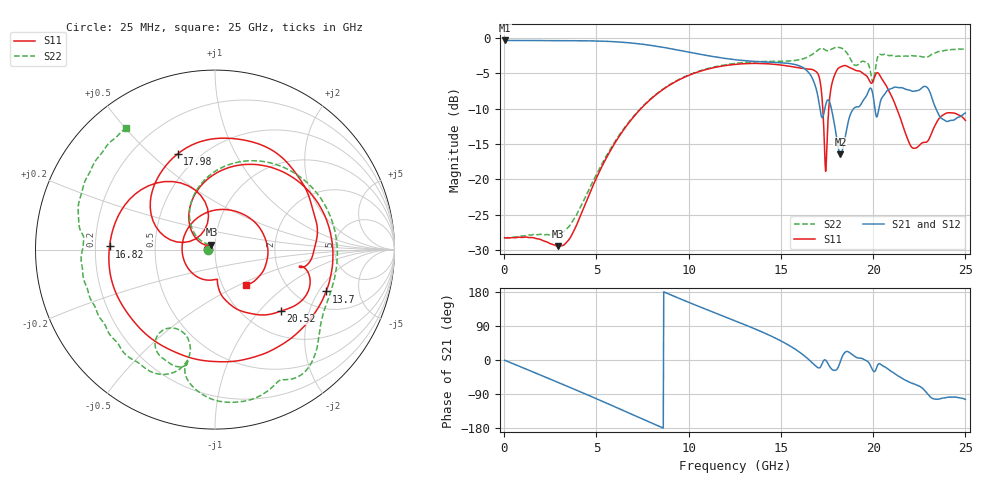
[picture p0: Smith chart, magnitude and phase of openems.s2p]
! BV_vna_clk_w5: /FPGA/FPGA_CLK_R via F.Cu→In3.Cu at (180.401, 101.754)
! stackup: VNA from the board file and its kisi.json
! ports: 1 in, 2 out
! openEMS 0.37.0, staircase, fine mesh (dfine 0.035 mm), 2553966 cells
# Hz S RI R 50
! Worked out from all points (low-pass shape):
!   1000 points, 25 MHz to 25 GHz, reference 50 ohm
!   highest |S21| = -0.34 dB at 25 MHz (marker M1); lowest = -16.4 dB at 18.23 GHz (marker M2)
!   |S21| within 3 dB of the highest: start of sweep to 13.75 GHz
!   lowest |S11| = -29.5 dB at 2.9 GHz (marker M3), VSWR 1.07, Z = 48 + j2.63 ohm
!   |S11| at or under -10 dB: start of sweep to 7.412 GHz; 17.27 GHz to 17.59 GHz (323 MHz wide, 1.85 % of centre); 21.28 GHz to end of sweep
!   |S22| runs from -28.3 to -1.3 dB; largest |S21 - S12| = 0.0067
!   S11 on the Smith chart (normalised r, x): 25 MHz: 0.93, +0.00; 13.7 GHz: 2.82, -2.34; 16.82 GHz: 0.26, +0.01; 17.98 GHz: 0.39, +0.61; 20.52 GHz: 1.44, -1.32; 25 GHz: 1.29, -0.54
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2.5e7  -0.0386 0.000654  0.9616 -0.00859  0.961 -0.00832  -0.0383 0.000505
2.9e9  -0.0196 0.0273  0.4989 -0.8195  0.4988 -0.8193  -0.0246 0.0325
4.2e9  -0.052 0.0253  0.0763 -0.954  0.0763 -0.954  -0.0549 0.0365
6e9  -0.1362 0.1184  -0.519 -0.7858  -0.5191 -0.7857  -0.1321 0.1289
8.35e9  -0.0212 0.4079  -0.8663 -0.0932  -0.8668 -0.0935  -0.0351 0.4096
1.0375e10  0.3549 0.4433  -0.6361 0.4489  -0.636 0.4496  0.305 0.4841
1.2525e10  0.6464 0.0767  -0.161 0.6835  -0.1602 0.6832  0.6172 0.2396
1.37e10  0.6189 -0.2334  0.1198 0.6707  0.1199 0.6696  0.6797 0.0286
1.5675e10  0.00369 -0.6241  0.5558 0.3433  0.5531 0.3441  0.618 -0.311
1.6675e10  -0.5778 -0.1642  0.5247 -0.0586  0.5275 -0.0532  0.5766 -0.4987
1.6825e10  -0.5878 0.0173  0.4624 -0.1077  0.4652 -0.1046  0.5689 -0.5454
1.715e10  -0.2826 0.3788  0.2836 -0.0925  0.287 -0.0927  0.5052 -0.676
1.7425e10  -0.0786 0.0826  0.3364 -0.00366  0.3399 -0.00261  0.3823 -0.7248
1.7975e10  -0.2081 0.5334  0.192 -0.0971  0.1934 -0.0975  0.2152 -0.8307
1.8225e10  0.0693 0.6206  0.1503 -0.00875  0.1525 -0.0104  0.078 -0.8507
1.9125e10  0.551 0.2011  0.3239 0.0349  0.3263 0.0342  -0.1461 -0.6258
2.0525e10  0.3652 -0.3435  0.3717 -0.1026  0.3696 -0.1044  -0.4425 -0.6212
2.085e10  0.2217 -0.3602  0.3902 -0.1885  0.3863 -0.1912  -0.5448 -0.5179
2.2125e10  0.0137 -0.1667  0.1999 -0.3696  0.1993 -0.3719  -0.7347 -0.1513
2.29e10  -0.1837 0.00341  0.0289 -0.4491  0.0269 -0.4515  -0.7314 0.0632
2.3275e10  0.0497 0.2237  -0.0754 -0.3394  -0.0789 -0.3418  -0.7595 0.162
2.5e10  0.1721 -0.1968  -0.0709 -0.286  -0.0696 -0.2836  -0.4967 0.6761
